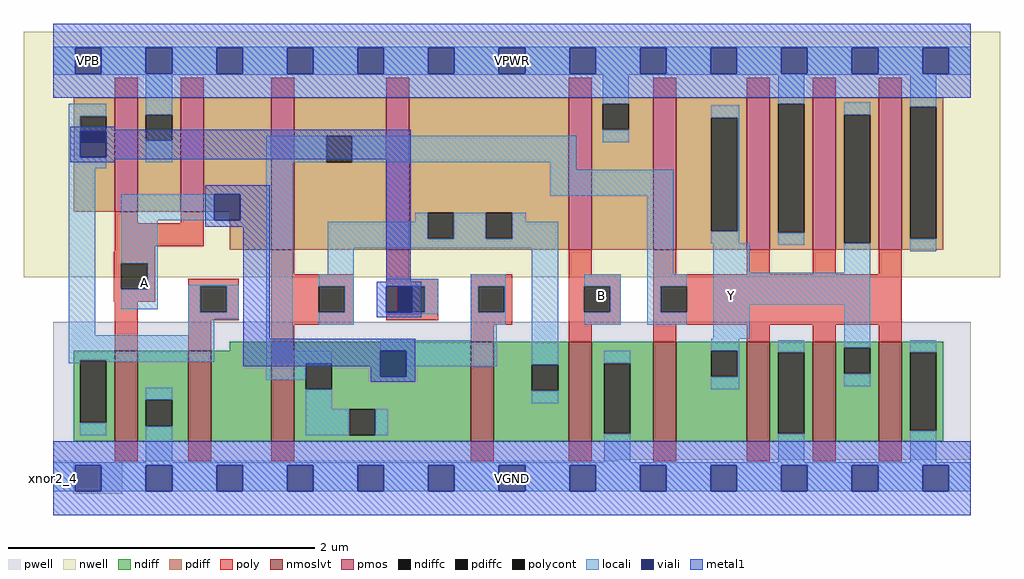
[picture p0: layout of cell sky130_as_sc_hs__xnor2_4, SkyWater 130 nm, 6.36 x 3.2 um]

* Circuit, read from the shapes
.subckt sky130_as_sc_hs__xnor2_4 VNB VPB VPWR VGND A Y B
XM1 VGND A n1 VNB sky130_fd_pr__nfet_01v8_lvt w=0.59 l=0.15
XM2 n2 n1 VGND VNB sky130_fd_pr__nfet_01v8_lvt w=0.59 l=0.15
XM3 n3 n4 n2 VNB sky130_fd_pr__nfet_01v8_lvt w=0.65 l=0.15
XM4 n4 A n3 VNB sky130_fd_pr__nfet_01v8_lvt w=0.65 l=0.15
XM5 VGND B n4 VNB sky130_fd_pr__nfet_01v8_lvt w=0.65 l=0.15
XM6 Y n3 VGND VNB sky130_fd_pr__nfet_01v8_lvt w=0.65 l=0.15 m=4
XM7 VPWR A n1 VPB sky130_fd_pr__pfet_01v8 w=0.745 l=0.15
XM8 n5 A VPWR VPB sky130_fd_pr__pfet_01v8 w=0.745 l=0.15
XM9 n3 n4 n5 VPB sky130_fd_pr__pfet_01v8 w=0.99 l=0.15
XM10 n4 n1 n3 VPB sky130_fd_pr__pfet_01v8 w=0.99 l=0.15
XM11 VPWR B n4 VPB sky130_fd_pr__pfet_01v8 w=0.99 l=0.15
XM12 Y n3 VPWR VPB sky130_fd_pr__pfet_01v8 w=0.99 l=0.15 m=4
.ends

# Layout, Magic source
magic
tech sky130A
magscale 1 2
<< nwell >>
rect -38 262 1234 582
<< pwell >>
rect 0 26 1196 204
rect 0 24 920 26
rect 930 24 1196 26
rect 0 22 736 24
rect 782 22 812 24
rect 904 22 934 24
rect 990 22 1020 24
rect 1076 22 1106 24
rect 26 -20 90 22
<< pmos >>
rect 80 347 110 496
rect 166 347 196 496
rect 284 298 314 496
rect 434 298 464 496
rect 672 298 702 496
rect 782 298 812 496
rect 904 298 934 496
rect 990 298 1020 496
rect 1076 298 1106 496
<< nmoslvt >>
rect 80 48 110 166
rect 176 48 206 166
rect 284 48 314 178
rect 544 48 574 178
rect 672 48 702 178
rect 782 48 812 178
rect 904 48 934 178
rect 990 48 1020 178
rect 1076 48 1106 178
<< ndiff >>
rect 230 166 284 178
rect 27 154 80 166
rect 27 72 35 154
rect 69 72 80 154
rect 27 48 80 72
rect 110 102 176 166
rect 110 68 121 102
rect 155 68 176 102
rect 110 48 176 68
rect 206 48 284 166
rect 314 150 544 178
rect 314 116 329 150
rect 363 116 544 150
rect 314 90 544 116
rect 314 56 386 90
rect 420 56 544 90
rect 314 48 544 56
rect 574 148 672 178
rect 574 114 624 148
rect 658 114 672 148
rect 574 48 672 114
rect 702 150 782 178
rect 702 58 718 150
rect 752 58 782 150
rect 702 48 782 58
rect 812 166 904 178
rect 812 132 858 166
rect 892 132 904 166
rect 812 48 904 132
rect 934 164 990 178
rect 934 58 945 164
rect 979 58 990 164
rect 934 48 990 58
rect 1020 170 1076 178
rect 1020 136 1031 170
rect 1065 136 1076 170
rect 1020 48 1076 136
rect 1106 164 1160 178
rect 1106 62 1117 164
rect 1151 62 1160 164
rect 1106 48 1160 62
<< pdiff >>
rect 27 472 80 496
rect 27 438 35 472
rect 69 438 80 472
rect 27 347 80 438
rect 110 474 166 496
rect 110 440 121 474
rect 155 440 166 474
rect 110 347 166 440
rect 196 347 284 496
rect 230 298 284 347
rect 314 446 434 496
rect 314 412 356 446
rect 390 412 434 446
rect 314 298 434 412
rect 464 346 672 496
rect 464 312 488 346
rect 522 312 564 346
rect 598 312 672 346
rect 464 298 672 312
rect 702 488 782 496
rect 702 454 716 488
rect 750 454 782 488
rect 702 298 782 454
rect 812 470 904 496
rect 812 322 858 470
rect 892 322 904 470
rect 812 298 904 322
rect 934 488 990 496
rect 934 320 945 488
rect 979 320 990 488
rect 934 298 990 320
rect 1020 474 1076 496
rect 1020 306 1031 474
rect 1065 306 1076 474
rect 1020 298 1076 306
rect 1106 484 1160 496
rect 1106 312 1117 484
rect 1151 312 1160 484
rect 1106 298 1160 312
<< ndiffc >>
rect 35 72 69 154
rect 121 68 155 102
rect 329 116 363 150
rect 386 56 420 90
rect 624 114 658 148
rect 718 58 752 150
rect 858 132 892 166
rect 945 58 979 164
rect 1031 136 1065 170
rect 1117 62 1151 164
<< pdiffc >>
rect 35 438 69 472
rect 121 440 155 474
rect 356 412 390 446
rect 488 312 522 346
rect 564 312 598 346
rect 716 454 750 488
rect 858 322 892 470
rect 945 320 979 488
rect 1031 306 1065 474
rect 1117 312 1151 484
<< poly >>
rect 80 496 110 522
rect 166 496 196 522
rect 284 496 314 522
rect 434 496 464 522
rect 672 496 702 522
rect 782 496 812 522
rect 904 496 934 522
rect 990 496 1020 522
rect 1076 496 1106 522
rect 80 332 110 347
rect 166 332 196 347
rect 80 302 196 332
rect 80 296 133 302
rect 79 280 133 296
rect 79 246 89 280
rect 123 246 133 280
rect 284 266 314 298
rect 79 230 133 246
rect 176 250 242 260
rect 80 166 110 230
rect 176 216 192 250
rect 226 216 242 250
rect 176 206 242 216
rect 284 250 392 266
rect 284 216 346 250
rect 380 216 392 250
rect 176 166 206 206
rect 284 200 392 216
rect 434 260 464 298
rect 672 266 702 298
rect 782 266 812 298
rect 904 266 934 298
rect 990 266 1020 298
rect 1076 266 1106 298
rect 434 250 502 260
rect 434 216 450 250
rect 484 216 502 250
rect 434 206 502 216
rect 544 250 598 266
rect 544 216 554 250
rect 588 216 598 250
rect 544 200 598 216
rect 672 250 740 266
rect 672 216 692 250
rect 726 216 740 250
rect 672 200 740 216
rect 782 250 1106 266
rect 782 216 792 250
rect 826 216 1106 250
rect 782 200 1106 216
rect 284 178 314 200
rect 544 178 574 200
rect 672 178 702 200
rect 782 178 812 200
rect 904 178 934 200
rect 990 178 1020 200
rect 1076 178 1106 200
rect 80 22 110 48
rect 176 22 206 48
rect 284 22 314 48
rect 544 22 574 48
rect 672 22 702 48
rect 782 22 812 48
rect 904 22 934 48
rect 990 22 1020 48
rect 1076 22 1106 48
<< polycont >>
rect 89 246 123 280
rect 192 216 226 250
rect 346 216 380 250
rect 450 216 484 250
rect 554 216 588 250
rect 692 216 726 250
rect 792 216 826 250
<< locali >>
rect 0 561 1196 562
rect 0 527 29 561
rect 63 527 121 561
rect 155 527 213 561
rect 247 527 305 561
rect 339 527 397 561
rect 431 527 489 561
rect 523 527 581 561
rect 615 527 673 561
rect 707 527 765 561
rect 799 527 857 561
rect 891 527 949 561
rect 983 527 1041 561
rect 1075 527 1133 561
rect 1167 527 1196 561
rect 0 526 1196 527
rect 20 472 69 488
rect 20 418 35 472
rect 20 404 69 418
rect 121 474 155 526
rect 716 488 750 526
rect 945 488 979 526
rect 121 412 155 440
rect 278 412 356 446
rect 390 412 682 446
rect 716 438 750 454
rect 858 470 894 486
rect 20 186 55 404
rect 89 336 210 370
rect 89 280 136 336
rect 123 246 136 280
rect 89 220 136 246
rect 176 250 242 252
rect 176 216 192 250
rect 226 216 242 250
rect 176 208 242 216
rect 176 186 210 208
rect 20 154 210 186
rect 20 150 35 154
rect 69 152 210 154
rect 278 166 312 412
rect 648 402 682 412
rect 648 368 808 402
rect 472 334 488 346
rect 358 312 488 334
rect 522 312 564 346
rect 598 334 616 346
rect 598 312 658 334
rect 358 300 658 312
rect 358 266 392 300
rect 346 250 392 266
rect 380 216 392 250
rect 346 200 392 216
rect 434 250 502 260
rect 484 216 502 250
rect 434 214 502 216
rect 544 250 590 266
rect 544 216 554 250
rect 588 216 590 250
rect 544 200 590 216
rect 544 180 578 200
rect 426 166 578 180
rect 278 150 363 166
rect 278 128 329 150
rect 35 56 69 72
rect 121 102 155 118
rect 121 21 155 68
rect 460 146 578 166
rect 624 148 658 300
rect 774 266 808 368
rect 892 322 894 470
rect 858 306 894 322
rect 860 268 908 306
rect 945 304 979 320
rect 1031 474 1065 490
rect 1031 268 1065 306
rect 1117 484 1151 526
rect 1117 296 1151 312
rect 692 250 740 266
rect 726 216 740 250
rect 692 200 740 216
rect 774 250 826 266
rect 774 216 792 250
rect 774 200 826 216
rect 860 226 1065 268
rect 860 182 908 226
rect 858 166 894 182
rect 329 90 363 116
rect 624 98 658 114
rect 718 150 752 166
rect 329 56 386 90
rect 420 56 436 90
rect 892 132 894 166
rect 858 116 894 132
rect 945 164 979 180
rect 718 21 752 58
rect 1031 170 1065 226
rect 1031 120 1065 136
rect 1117 164 1151 180
rect 945 21 979 58
rect 1117 21 1151 62
rect 0 17 1196 21
rect 0 -17 29 17
rect 63 -17 121 17
rect 155 -17 213 17
rect 247 -17 305 17
rect 339 -17 397 17
rect 431 -17 489 17
rect 523 -17 581 17
rect 615 -17 673 17
rect 707 -17 765 17
rect 799 -17 857 17
rect 891 -17 949 17
rect 983 -17 1041 17
rect 1075 -17 1133 17
rect 1167 -17 1196 17
<< viali >>
rect 29 527 63 561
rect 121 527 155 561
rect 213 527 247 561
rect 305 527 339 561
rect 397 527 431 561
rect 489 527 523 561
rect 581 527 615 561
rect 673 527 707 561
rect 765 527 799 561
rect 857 527 891 561
rect 949 527 983 561
rect 1041 527 1075 561
rect 1133 527 1167 561
rect 35 438 69 452
rect 35 418 69 438
rect 210 336 244 370
rect 434 216 450 250
rect 450 216 468 250
rect 426 132 460 166
rect 29 -17 63 17
rect 121 -17 155 17
rect 213 -17 247 17
rect 305 -17 339 17
rect 397 -17 431 17
rect 489 -17 523 17
rect 581 -17 615 17
rect 673 -17 707 17
rect 765 -17 799 17
rect 857 -17 891 17
rect 949 -17 983 17
rect 1041 -17 1075 17
rect 1133 -17 1167 17
<< metal1 >>
rect 0 561 1196 592
rect 0 527 29 561
rect 63 527 121 561
rect 155 527 213 561
rect 247 527 305 561
rect 339 527 397 561
rect 431 527 489 561
rect 523 527 581 561
rect 615 527 673 561
rect 707 527 765 561
rect 799 527 857 561
rect 891 527 949 561
rect 983 527 1041 561
rect 1075 527 1133 561
rect 1167 527 1196 561
rect 0 496 1196 527
rect 22 454 80 458
rect 22 452 466 454
rect 22 418 35 452
rect 69 418 466 452
rect 22 416 466 418
rect 22 412 80 416
rect 198 370 282 382
rect 198 336 210 370
rect 244 336 282 370
rect 198 328 282 336
rect 248 182 282 328
rect 434 256 466 416
rect 422 250 480 256
rect 422 216 434 250
rect 468 216 480 250
rect 422 210 480 216
rect 248 166 472 182
rect 248 146 426 166
rect 414 132 426 146
rect 460 132 472 166
rect 414 126 472 132
rect 0 17 1196 48
rect 0 -17 29 17
rect 63 -17 121 17
rect 155 -17 213 17
rect 247 -17 305 17
rect 339 -17 397 17
rect 431 -17 489 17
rect 523 -17 581 17
rect 615 -17 673 17
rect 707 -17 765 17
rect 799 -17 857 17
rect 891 -17 949 17
rect 983 -17 1041 17
rect 1075 -17 1133 17
rect 1167 -17 1196 17
rect 0 -48 1196 -17
<< labels >>
rlabel comment s 0 0 0 0 4 xnor2_4
flabel pwell s 29 -17 63 17 0 FreeSans 200 0 0 0 VNB
port 1 nsew ground bidirectional
flabel pwell s 46 0 46 0 0 FreeSans 200 0 0 0 VNB
flabel nwell s 29 527 63 561 0 FreeSans 200 0 0 0 VPB
port 2 nsew power bidirectional
flabel nwell s 46 544 46 544 0 FreeSans 200 0 0 0 VPB
flabel metal1 s 29 527 63 561 0 FreeSans 200 0 0 0 VPWR
port 3 nsew power bidirectional abutment
flabel metal1 s 29 -17 63 17 0 FreeSans 200 0 0 0 VGND
port 4 nsew ground bidirectional abutment
rlabel metal1 s 0 -48 1196 48 1 VGND
port 4 nsew ground bidirectional abutment
rlabel metal1 s 0 496 1196 592 1 VPWR
port 3 nsew power bidirectional abutment
flabel locali 102 238 136 272 0 FreeSans 200 0 0 0 A
port 5 nsew signal input
flabel locali 697 221 731 255 0 FreeSans 200 0 0 0 B
port 7 nsew signal input
flabel locali 714 238 714 238 0 FreeSans 200 0 0 0 B
flabel locali 867 221 901 255 0 FreeSans 200 0 0 0 Y
port 6 nsew signal output
flabel locali 884 238 884 238 0 FreeSans 200 0 0 0 Y
flabel polycont 119 255 119 255 0 FreeSans 200 0 0 0 A
<< properties >>
string FIXED_BBOX 0 0 1196 544
string GDS_FILE $PDKPATH/libs.ref/sky130_as_sc_hs/gds/sky130_as_sc_hs__xnor2_4.gds
string LEFclass CORE
string LEFsite unithd
string LEFsymmetry X Y R90
string MASKHINTS_LVTN 0 -4 1196 214
string MASKHINTS_NSDM 0 -38 1196 204
string MASKHINTS_PSDM 0 272 1196 582
<< end >>
